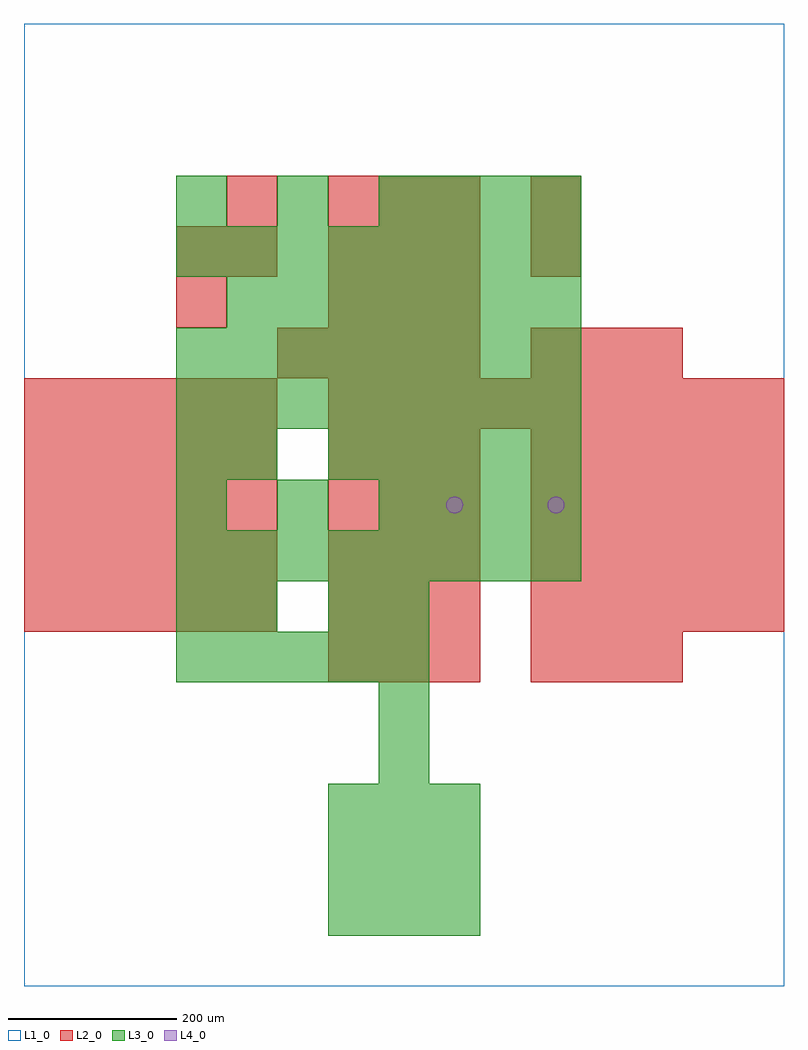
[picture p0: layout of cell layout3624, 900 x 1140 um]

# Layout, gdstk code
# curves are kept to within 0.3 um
import gdstk
lib = gdstk.Library(unit=1e-6, precision=1e-09)
def R(c, l, rs):  # rectangles x0, y0, x1, y1
    for r in rs: c.add(gdstk.rectangle(r[:2], r[2:], *l))
def A(c, l, x, y, w, h, nx, ny, dx, dy):  # array of equal rectangles
    R(c, l, [(x+i*dx, y+j*dy, x+i*dx+w, y+j*dy+h) for i in range(nx) for j in range(ny)])
def P(c, l, *ps):  # polygons
    for p in ps: c.add(gdstk.Polygon(p, *l))
L1_0 = (1, 0)
L2_0 = (2, 0)
L3_0 = (3, 0)
L4_0 = (4, 0)

layout3624 = lib.new_cell('layout3624')
R(layout3624, L1_0, [(0,0,900,1140)])
A(layout3624, L2_0, 360, 360, 60, 60, 3, 5, 60, 60)
A(layout3624, L2_0, 600, 360, 60, 60, 3, 2, 60, 360)
A(layout3624, L2_0, 0, 420, 60, 60, 5, 5, 60, 60)
A(layout3624, L2_0, 600, 420, 60, 60, 5, 4, 60, 60)
A(layout3624, L2_0, 360, 660, 60, 60, 9, 1, 60, 0)
A(layout3624, L2_0, 300, 720, 60, 60, 4, 1, 60, 0)
A(layout3624, L2_0, 360, 780, 60, 60, 3, 3, 60, 60)
R(layout3624, L2_0, [(180,780,240,840), (180,840,240,900), (240,840,300,900), (600,840,660,900), (240,900,300,960), (600,900,660,960)])
A(layout3624, L3_0, 360, 60, 60, 60, 3, 3, 60, 60)
A(layout3624, L3_0, 180, 360, 60, 60, 5, 1, 60, 0)
A(layout3624, L3_0, 180, 480, 60, 60, 8, 2, 60, 180)
A(layout3624, L3_0, 180, 540, 60, 60, 3, 2, 120, 360)
A(layout3624, L3_0, 480, 540, 60, 60, 3, 2, 60, 360)
A(layout3624, L3_0, 360, 600, 60, 60, 5, 1, 60, 0)
A(layout3624, L3_0, 180, 720, 60, 60, 8, 2, 60, 120)
A(layout3624, L3_0, 240, 780, 60, 60, 7, 1, 60, 0)
R(layout3624, L3_0, [(420,240,480,300), (420,300,480,360), (180,420,240,480), (240,420,300,480), (360,420,420,480), (420,420,480,480), (180,600,240,660), (240,600,300,660)])
P(layout3624, L4_0, [(520,570),(519.239,573.827),(517.071,577.071),(513.827,579.239),(510,580),(506.173,579.239),(502.929,577.071),(500.761,573.827),(500,570),(500.761,566.173),(502.929,562.929),(506.173,560.761),(510,560),(513.827,560.761),(517.071,562.929),(519.239,566.173)],
  [(640,570),(639.239,573.827),(637.071,577.071),(633.827,579.239),(630,580),(626.173,579.239),(622.929,577.071),(620.761,573.827),(620,570),(620.761,566.173),(622.929,562.929),(626.173,560.761),(630,560),(633.827,560.761),(637.071,562.929),(639.239,566.173)])

lib.write_gds('layout3624.gds')
